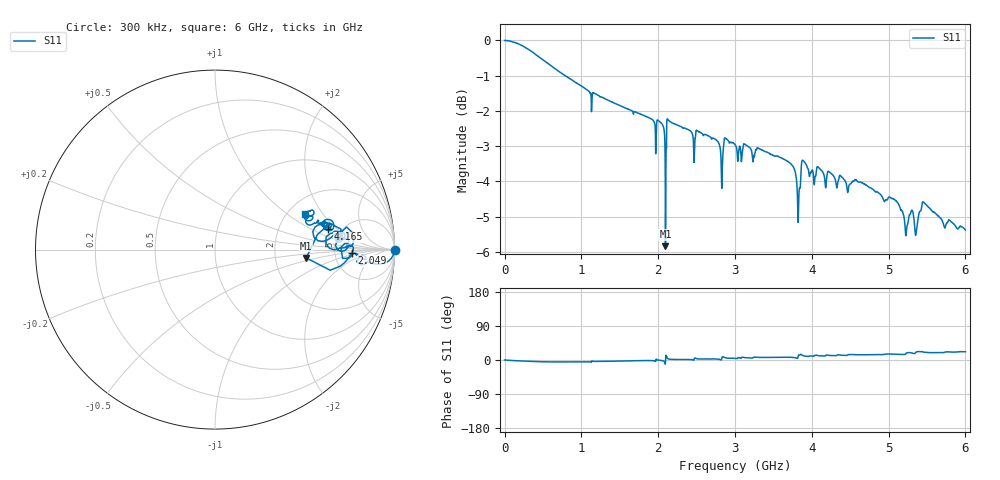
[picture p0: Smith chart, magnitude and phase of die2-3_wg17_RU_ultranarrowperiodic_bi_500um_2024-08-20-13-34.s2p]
!Keysight Technologies,P9374A,MY57304198,A.17.20.09
!Date: Tuesday, August 20, 2024 13:34:50
!Correction: S11(C  1-Port  )
!S21(C  1-Port  )
!S12(Off)
!S22(Off)
!S2P File: Measurements: S11, S21, S12, S22:
# Hz S  dB  R 50
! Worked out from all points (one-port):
!   6000 points, 300 kHz to 6 GHz, reference 50 ohm
!   lowest |S11| = -5.8 dB at 2.095 GHz (marker M1), VSWR 3.09, Z = 152 - j19 ohm
!   |S11| at or under -10 dB: nowhere
!   S11 on the Smith chart (normalised r, x): 300 kHz: open; 2.049 GHz: 7.34, -0.64; 4.165 GHz: 3.93, +1.52; 6 GHz: 2.44, +1.38
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300000  0.00 -0.0  -200.00 45.0  -200.00 45.0  -200.00 45.0
4.173487e8  -0.42 -4.4  -200.00 45.0  -200.00 45.0  -200.00 45.0
1.000417e9  -1.29 -4.8  -200.00 45.0  -200.00 45.0  -200.00 45.0
2.000533e9  -2.27 -0.3  -200.00 45.0  -200.00 45.0  -200.00 45.0
2.048539e9  -2.36 -1.4  -200.00 45.0  -200.00 45.0  -200.00 45.0
2.094544e9  -5.84 -5.2  -200.00 45.0  -200.00 45.0  -200.00 45.0
2.14355e9  -2.28 2.3  -200.00 45.0  -200.00 45.0  -200.00 45.0
2.435584e9  -2.61 0.9  -200.00 45.0  -200.00 45.0  -200.00 45.0
2.497591e9  -2.55 3.6  -200.00 45.0  -200.00 45.0  -200.00 45.0
2.82463e9  -4.01 1.3  -200.00 45.0  -200.00 45.0  -200.00 45.0
2.859634e9  -2.80 7.2  -200.00 45.0  -200.00 45.0  -200.00 45.0
3.00065e9  -2.96 4.3  -200.00 45.0  -200.00 45.0  -200.00 45.0
3.713733e9  -3.47 7.1  -200.00 45.0  -200.00 45.0  -200.00 45.0
3.791742e9  -3.81 5.7  -200.00 45.0  -200.00 45.0  -200.00 45.0
3.829747e9  -4.52 13.4  -200.00 45.0  -200.00 45.0  -200.00 45.0
3.894754e9  -3.43 11.0  -200.00 45.0  -200.00 45.0  -200.00 45.0
4.000767e9  -3.69 10.8  -200.00 45.0  -200.00 45.0  -200.00 45.0
4.164786e9  -3.88 10.2  -200.00 45.0  -200.00 45.0  -200.00 45.0
5.000883e9  -4.45 15.8  -200.00 45.0  -200.00 45.0  -200.00 45.0
5.237911e9  -5.29 18.7  -200.00 45.0  -200.00 45.0  -200.00 45.0
5.413932e9  -4.84 21.8  -200.00 45.0  -200.00 45.0  -200.00 45.0
6e9  -5.38 21.8  -200.00 45.0  -200.00 45.0  -200.00 45.0
